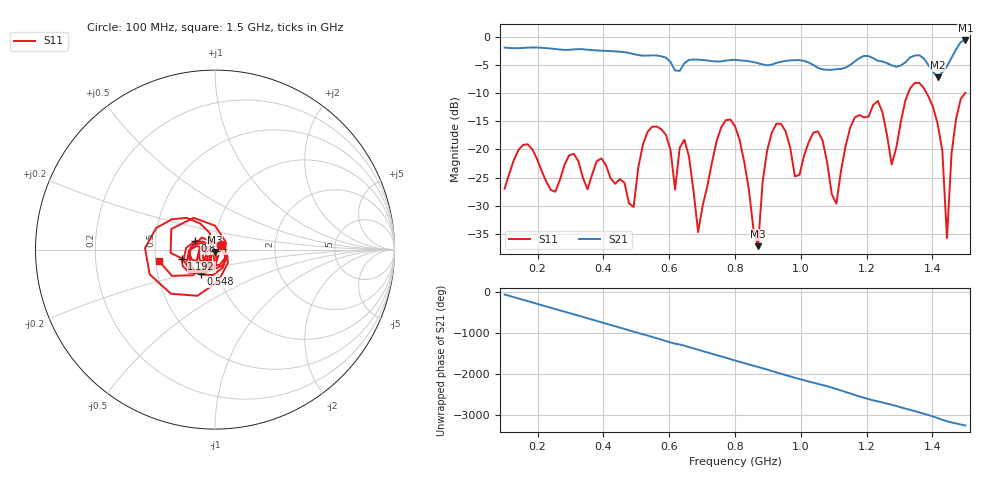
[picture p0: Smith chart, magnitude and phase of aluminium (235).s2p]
! NanoVNA-App
! Date: 2025-09-25 14:57:06
! Start: 100MHz Stop: 1,5GHz Points: 101
! S-Parameter data: F S11 S21 S12 S22
# Hz S RI R 50
!  Frequency  S11_Real  S11_Imag  S21_Real  S21_Imag  S12_Real  S12_Imag  S22_Real  S22_Imag
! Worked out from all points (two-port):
!   101 points, 100 MHz to 1.5 GHz, reference 50 ohm
!   highest |S21| = -0.65 dB at 1.5 GHz (marker M1); lowest = -7.2 dB at 1.416 GHz (marker M2)
!   |S21| within 3 dB of the highest: start of sweep to 587 MHz; 1.459 GHz to end of sweep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
!   lowest |S11| = -37.2 dB at 870 MHz (marker M3), VSWR 1.03, Z = 49.8 - j1.37 ohm
!   |S11| at or under -10 dB: start of sweep to 1.326 GHz; 1.382 GHz to 1.499 GHz (117.3 MHz wide, 8.14 % of centre)
!   S12 and S22 are empty: the file has one direction only
!   S11 on the Smith chart (normalised r, x): 100 MHz: 1.07, +0.06; 548 MHz: 0.82, -0.23; 814 MHz: 0.79, +0.07; 1.192 GHz: 0.68, -0.07; 1.5 GHz: 0.52, -0.07
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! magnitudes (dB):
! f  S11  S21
! 100 MHz  -27.0  -1.9
! 338 MHz  -25.0  -2.2
! 492 MHz  -30.2  -3.1
! 548 MHz  -16.0  -3.3
! 576 MHz  -16.4  -3.5
! 618 MHz  -27.1  -6.0
! 646 MHz  -18.3  -4.7
! 688 MHz  -34.7  -4.1
! 800 MHz  -15.9  -4.1
! 814 MHz  -18.3  -4.2
! 870 MHz  -37.2  -4.7
! 912 MHz  -17.0  -4.9
! 982 MHz  -24.8  -4.2
! 1.038 GHz  -17.0  -5.0
! 1.108 GHz  -29.6  -5.7
! 1.192 GHz  -14.3  -3.4
! 1.276 GHz  -22.7  -5.1
! 1.346 GHz  -8.2  -3.3
! 1.416 GHz  -15.6  -7.2
! 1.444 GHz  -35.8  -5.3
! 1.458 GHz  -20.7  -3.7
! 1.5 GHz  -9.9  -0.7
